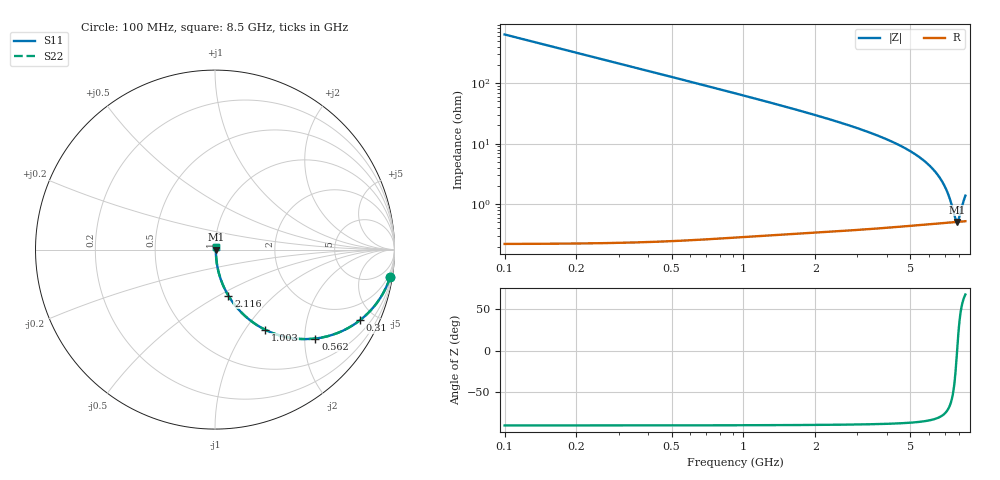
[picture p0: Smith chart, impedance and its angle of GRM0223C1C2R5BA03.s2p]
!Murata Part Number: GRM0223C1C2R5BA03
!These Parameters are Measured in Series Mode Connection
!Data Generated on Mar 30, 2021
!  o--ll--o
!Port1  Port2
!  o------o
!Operation Temp=25[degC], DC Bias Voltage=0[V]
!Freq. Start=100[MHz] Stop=9[GHz] 401[Steps]
# Hz S RI R 50
!Freq.(Hz) S11(Real) S11(Imag) S21(Real) S21(Imag) S12(Real) S12(Imag) S22(Real) S22(Imag)
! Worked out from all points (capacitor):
!   401 points, 100 MHz to 8.5 GHz, reference 50 ohm
!   read as one part in series: C = 2.5 pF near 142 MHz
!   lowest |Z| = 511 mohm at 7.849 GHz (marker M1)
!   series resonance near 7.846 GHz, so ESL is about 160 pH
!   S11 on the Smith chart (normalised r, x): 100 MHz: 1, -13; 310 MHz: 1.00, -4.10; 562 MHz: 1.01, -2.25; 1.003 GHz: 1.01, -1.25; 2.116 GHz: 1.01, -0.56; 8.5 GHz: 1.01, +0.03
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1e8  0.9759 -0.1533  0.0241 0.1533  0.0241 0.1533  0.9759 -0.1533
2.05e8  0.9057 -0.2918  0.0943 0.2918  0.0943 0.2918  0.9057 -0.2918
3.1e8  0.8075 -0.3937  0.1925 0.3937  0.1925 0.3937  0.8075 -0.3937
4.15e8  0.7002 -0.4574  0.2998 0.4574  0.2998 0.4574  0.7002 -0.4574
5.62e8  0.5591 -0.4954  0.4409 0.4954  0.4409 0.4954  0.5591 -0.4954
7.72e8  0.4 -0.4882  0.6 0.4882  0.6 0.4882  0.4 -0.4882
1.003e9  0.2809 -0.4471  0.7191 0.4471  0.7191 0.4471  0.2809 -0.4471
1.234e9  0.2029 -0.3992  0.7971 0.3992  0.7971 0.3992  0.2029 -0.3992
1.507e9  0.1435 -0.3466  0.8565 0.3466  0.8565 0.3466  0.1435 -0.3466
2.116e9  0.0745 -0.2565  0.9255 0.2565  0.9255 0.2565  0.0745 -0.2565
2.914e9  0.0373 -0.1798  0.9627 0.1798  0.9627 0.1798  0.0373 -0.1798
4.3e9  0.0145 -0.101  0.9855 0.101  0.9855 0.101  0.0145 -0.101
5.707e9  0.00724 -0.0514  0.9928 0.0514  0.9928 0.0514  0.00724 -0.0514
6.526e9  0.00566 -0.0294  0.9943 0.0294  0.9943 0.0294  0.00566 -0.0294
6.841e9  0.00534 -0.0218  0.9947 0.0218  0.9947 0.0218  0.00534 -0.0218
7.114e9  0.00517 -0.0156  0.9948 0.0156  0.9948 0.0156  0.00517 -0.0156
7.366e9  0.00509 -0.01  0.9949 0.01  0.9949 0.01  0.00509 -0.01
7.723e9  0.00507 -0.0025  0.9949 0.0025  0.9949 0.0025  0.00507 -0.0025
7.849e9  0.00509 6.52e-05  0.9949 -6.52e-05  0.9949 -6.52e-05  0.00509 6.52e-05
7.975e9  0.00512 0.00259  0.9949 -0.00259  0.9949 -0.00259  0.00512 0.00259
8.29e9  0.00525 0.00874  0.9947 -0.00874  0.9947 -0.00874  0.00525 0.00874
8.5e9  0.00538 0.0127  0.9946 -0.0127  0.9946 -0.0127  0.00538 0.0127
